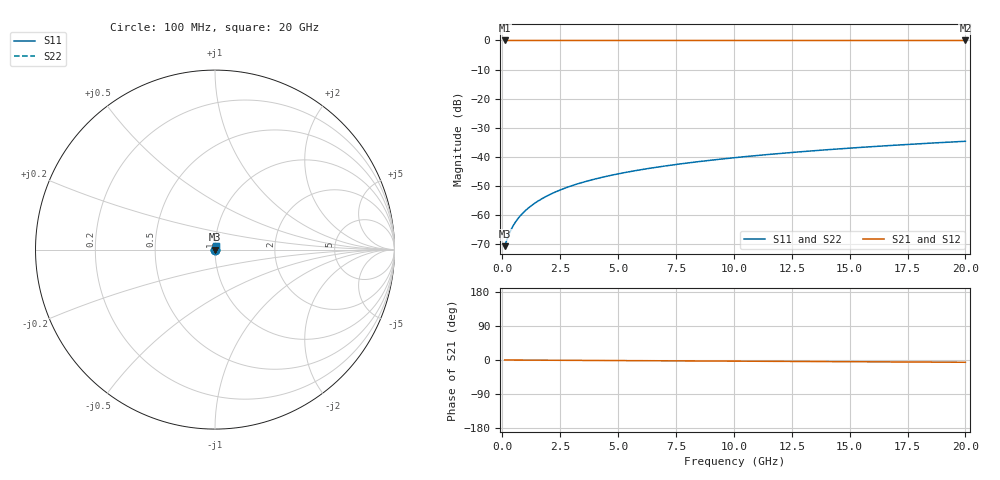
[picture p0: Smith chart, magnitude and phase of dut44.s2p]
! Touchstone file exported from HFSS 2026.1.0
!  File:  C:/ffzhzh/LocalFiles/Ansys_Project_Files/temp_train_TSV_44_1782958671_45308.aedt
!  Generated:  10:19:19 AM Jul  2, 2026
!  Design:  TSV
!  Project:  temp_train_TSV_44_1782958671_45308
! Variables:
!  h_bsmrdl = 2um
!  h_ox = 20um
!  h_rdl = 5um
!  h_sub = 59.1um
!  h_tmrdl = 5um
!  h_tsv = 59.1um
!  h_via = 3um
!  l_bsmrdl = 300um
!  l_sub = 410.94um
!  l_tmrdl = 200um
!  m_sub = 200um
!  pitch = 27.71um
!  r_tsv = 5.47um
!  s_tmrdl = 10um
!  w_bsmrdl = 18um
!  w_sub = 500um
!  w_tmrdl = 12um
!  x_tsv_center1 = 206um
!  x_tsv_center2 = 524um
!  x_tsv_center3 = 736um
!  x_tsv_center4 = 1054um
!  x_tsv_center5 = 1266um
!  x_tsv_center6 = 1584um
# GHz S MA R 50.000000
! Terminal data exported
! Port[1] = TSV1_1_T1
! Port[2] = TSV1_1_T2
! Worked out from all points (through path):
!   200 points, 100 MHz to 20 GHz, reference 50 ohm
!   highest |S21| = 0.00 dB at 100 MHz (marker M1); lowest = 0.0 dB at 20 GHz (marker M2)
!   lowest |S11| = -70.6 dB at 100 MHz (marker M3), VSWR 1.00, Z = 50 + j0.0133 ohm
!   |S11| at or under -10 dB: start of sweep to end of sweep
!   |S22| runs from -70.6 to -34.6 dB; largest |S21 - S12| = 1e-15
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0.1  0.0002953 26.7  0.9997 -0.0  0.9997 -0.0  0.0002953 26.7
! Gamma 0 0 0 0
! Port Impedance 50 0 50 0
0.3  0.0004837 52.6  0.9997 -0.1  0.9997 -0.1  0.0004837 52.6
0.4  0.0005903 58.0  0.9997 -0.1  0.9997 -0.1  0.0005903 58.0
0.5  0.000696 61.5  0.9997 -0.2  0.9997 -0.2  0.000696 61.5
0.6  0.0007998 64.1  0.9997 -0.2  0.9997 -0.2  0.0007998 64.1
0.8  0.001004 67.8  0.9996 -0.3  0.9996 -0.3  0.001004 67.8
1  0.001206 70.4  0.9996 -0.3  0.9996 -0.3  0.001206 70.4
1.2  0.001407 72.3  0.9996 -0.4  0.9996 -0.4  0.001407 72.3
1.4  0.00161 73.8  0.9996 -0.4  0.9996 -0.4  0.00161 73.8
1.7  0.001913 75.4  0.9995 -0.5  0.9995 -0.5  0.001913 75.4
2.2  0.002418 77.1  0.9995 -0.7  0.9995 -0.7  0.002418 77.1
2.8  0.003018 78.2  0.9994 -0.9  0.9994 -0.9  0.003018 78.2
3.5  0.003705 78.9  0.9993 -1.1  0.9993 -1.1  0.003705 78.9
4.2  0.00438 79.3  0.9993 -1.3  0.9993 -1.3  0.00438 79.3
5  0.005137 79.6  0.9992 -1.5  0.9992 -1.5  0.005137 79.6
5.9  0.005976 79.9  0.9991 -1.8  0.9991 -1.8  0.005976 79.9
6.8  0.006804 80.0  0.999 -2.1  0.999 -2.1  0.006804 80.0
8.3  0.008172 80.2  0.9989 -2.5  0.9989 -2.5  0.008172 80.2
10.1  0.009802 80.3  0.9988 -3.0  0.9988 -3.0  0.009802 80.3
13.4  0.01277 80.1  0.9986 -4.0  0.9986 -4.0  0.01277 80.1
16.7  0.01572 79.7  0.9984 -5.0  0.9984 -5.0  0.01572 79.7
20  0.01863 79.1  0.9982 -6.0  0.9982 -6.0  0.01863 79.1
